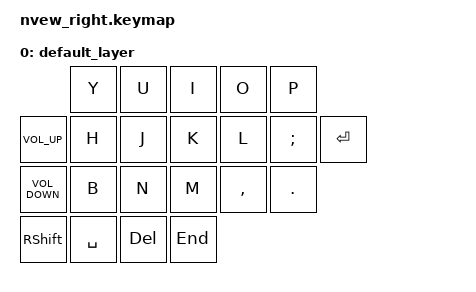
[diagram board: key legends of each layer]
#include <behaviors.dtsi>
#include <dt-bindings/zmk/keys.h>
#include <dt-bindings/zmk/bt.h>

/ {  
    keymap {
        compatible = "zmk,keymap";

        default_layer {
            bindings = <
                                &kp Y           &kp U       &kp I       &kp O       &kp P
            &kp C_VOLUME_UP     &kp H           &kp J       &kp K       &kp L       &kp SEMICOLON       &kp ENTER
            &kp C_VOLUME_DOWN   &kp B           &kp N       &kp M       &kp COMMA   &kp DOT
            &kp RSHIFT          &kp SPACE       &kp DEL     &kp END                   
            >;
        };
    };
};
